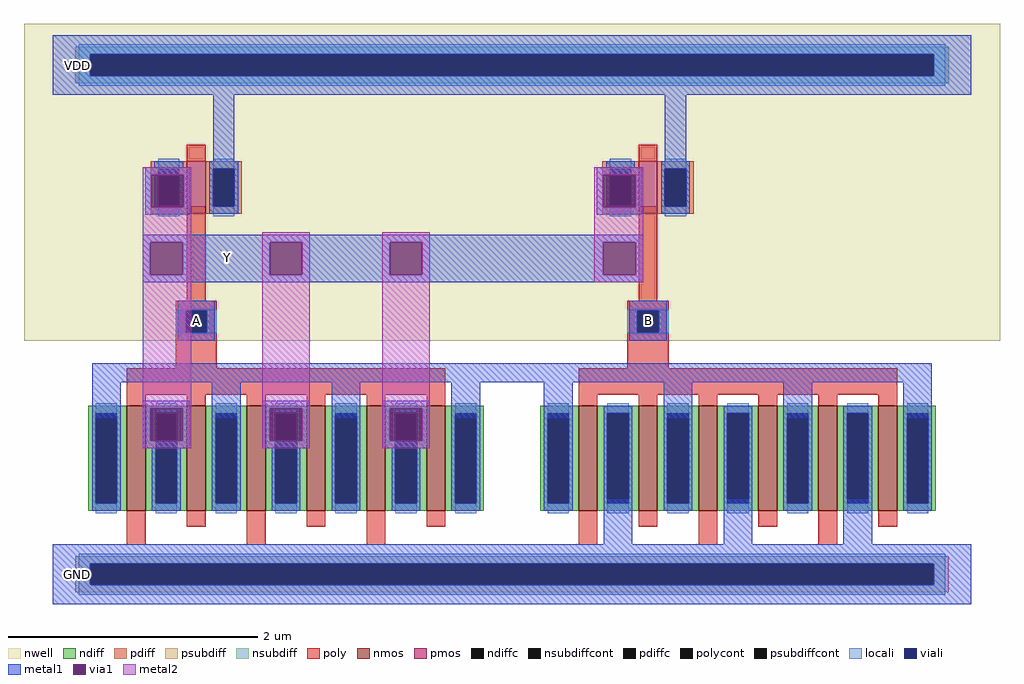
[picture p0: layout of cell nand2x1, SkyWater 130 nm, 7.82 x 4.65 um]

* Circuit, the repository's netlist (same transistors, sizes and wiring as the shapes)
** sch_path: /foss/designs/nand2x1.sch
.subckt nand2x1 A B VDD GND Y
*.PININFO A:I B:I VDD:B GND:B Y:O
XM2 Y A net1 GND sky130_fd_pr__nfet_01v8 L=0.15 W=5.04 nf=6
XM3 Y A VDD VDD sky130_fd_pr__pfet_01v8 L=0.15 W=0.42 nf=1
XM4 Y B VDD VDD sky130_fd_pr__pfet_01v8 L=0.15 W=0.42 nf=1
XM1 net1 B GND GND sky130_fd_pr__nfet_01v8 L=0.15 W=5.04 nf=6
.ends

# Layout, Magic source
magic
tech sky130A
magscale 1 2
<< nwell >>
rect -46 374 1518 882
<< psubdiff >>
rect 36 17 1436 29
rect 36 -17 60 17
rect 1412 -17 1436 17
rect 36 -29 1436 -17
<< nsubdiff >>
rect 36 833 1436 845
rect 36 799 60 833
rect 1412 799 1436 833
rect 36 787 1436 799
<< psubdiffcont >>
rect 60 -17 1412 17
<< nsubdiffcont >>
rect 60 799 1412 833
<< poly >>
rect 215 438 245 590
rect 939 438 969 590
rect 197 422 263 438
rect 197 388 213 422
rect 247 388 263 422
rect 197 330 263 388
rect 921 422 987 438
rect 921 388 937 422
rect 971 388 987 422
rect 921 330 987 388
rect 119 288 629 330
rect 843 288 1353 330
<< polycont >>
rect 213 388 247 422
rect 937 388 971 422
<< locali >>
rect 42 833 1430 849
rect 42 799 60 833
rect 1412 799 1430 833
rect 42 783 1430 799
rect 197 422 263 424
rect 197 388 213 422
rect 247 388 263 422
rect 197 386 263 388
rect 921 422 987 424
rect 921 388 937 422
rect 971 388 987 422
rect 921 386 987 388
rect 42 17 1430 33
rect 42 -17 60 17
rect 1412 -17 1430 17
rect 42 -33 1430 -17
<< viali >>
rect 60 799 1412 833
rect 213 388 247 422
rect 937 388 971 422
rect 60 -17 1412 17
<< metal1 >>
rect 0 833 1472 864
rect 0 799 60 833
rect 1412 799 1472 833
rect 0 768 1472 799
rect 148 640 220 652
rect 257 650 291 768
rect 148 588 158 640
rect 210 588 220 640
rect 148 576 220 588
rect 872 640 944 652
rect 981 650 1015 768
rect 872 588 882 640
rect 934 588 944 640
rect 872 576 944 588
rect 144 532 946 544
rect 144 480 156 532
rect 208 480 348 532
rect 400 480 540 532
rect 592 480 882 532
rect 934 480 946 532
rect 144 468 946 480
rect 200 422 260 438
rect 200 388 213 422
rect 247 388 260 422
rect 200 374 260 388
rect 924 422 984 438
rect 924 388 937 422
rect 971 388 984 422
rect 924 374 984 388
rect 63 308 1409 338
rect 63 250 109 308
rect 144 266 220 278
rect 144 214 156 266
rect 208 214 220 266
rect 255 250 301 308
rect 336 266 412 278
rect 144 202 220 214
rect 336 214 348 266
rect 400 214 412 266
rect 447 250 493 308
rect 528 266 604 278
rect 336 202 412 214
rect 528 214 540 266
rect 592 214 604 266
rect 639 250 685 308
rect 787 250 833 308
rect 979 250 1025 308
rect 1171 250 1217 308
rect 1363 250 1409 308
rect 528 202 604 214
rect 883 48 929 120
rect 1075 48 1121 120
rect 1267 48 1313 120
rect 0 17 1472 48
rect 0 -17 60 17
rect 1412 -17 1472 17
rect 0 -48 1472 -17
<< via1 >>
rect 158 588 210 640
rect 882 588 934 640
rect 156 480 208 532
rect 348 480 400 532
rect 540 480 592 532
rect 882 480 934 532
rect 156 214 208 266
rect 348 214 400 266
rect 540 214 592 266
<< metal2 >>
rect 144 640 222 652
rect 144 588 158 640
rect 210 588 222 640
rect 144 532 222 588
rect 868 640 946 652
rect 868 588 882 640
rect 934 588 946 640
rect 144 480 156 532
rect 208 480 222 532
rect 144 266 222 480
rect 144 214 156 266
rect 208 214 222 266
rect 144 202 222 214
rect 336 532 412 548
rect 336 480 348 532
rect 400 480 412 532
rect 336 266 412 480
rect 336 214 348 266
rect 400 214 412 266
rect 336 202 412 214
rect 528 532 604 548
rect 528 480 540 532
rect 592 480 604 532
rect 528 266 604 480
rect 868 532 946 588
rect 868 480 882 532
rect 934 480 946 532
rect 868 468 946 480
rect 528 214 540 266
rect 592 214 604 266
rect 528 202 604 214
use sky130_fd_pr__nfet_01v8_6WXBLA  xna
transform 1 0 374 0 1 186
box -317 -139 317 139
use sky130_fd_pr__nfet_01v8_6WXBLA  xnb
transform 1 0 1098 0 1 186
box -317 -139 317 139
use sky130_fd_pr__pfet_01v8_YNU6YZ  xpa
transform 1 0 230 0 1 620
box -109 -104 109 104
use sky130_fd_pr__pfet_01v8_YNU6YZ  xpb
transform 1 0 954 0 1 620
box -109 -104 109 104
<< labels >>
rlabel metal1 200 374 260 438 0 A
port 1 nsew
rlabel metal1 924 374 984 438 0 B
port 2 nsew
rlabel metal1 240 484 320 532 0 Y
port 3 nsew
rlabel metal1 10 780 70 852 0 VDD
port 4 nsew
rlabel metal1 10 -36 70 36 0 GND
port 5 nsew
<< properties >>
string FIXED_BBOX 0 0 1472 816
<< end >>

# cell sky130_fd_pr__nfet_01v8_6WXBLA: kit device sky130_fd_pr__nfet_01v8, w 0.84 l 0.15 m 1 nf 6 diffcov 100 polycov 100 guard 0 glc 1 grc 1 gtc 1 gbc 1 tbcov 100 rlcov 100 topc 0 botc 0 poverlap 0 doverlap 1 lmin 0.15 wmin 0.42 class mosfet compatible {sky130_fd_pr__nfet_01v8 sky130_fd_pr__nfet_01v8_lvt sky130_fd_bs_flash__special_sonosfet_star sky130_fd_pr__nfet_g5v0d10v5 sky130_fd_pr__nfet_05v0_nvt sky130_fd_pr__nfet_03v3_nvt} full_metal 1 conn_gates 0 viasrc 100 viadrn 100 viagate 100 viagb 0 viagr 0 viagl 0 viagt 0 doports 1

# cell sky130_fd_pr__pfet_01v8_YNU6YZ: kit device sky130_fd_pr__pfet_01v8, w 0.42 l 0.15 m 1 nf 1 diffcov 100 polycov 100 guard 0 glc 1 grc 1 gtc 1 gbc 1 tbcov 100 rlcov 100 topc 0 botc 0 poverlap 0 doverlap 1 lmin 0.15 wmin 0.42 class mosfet compatible {sky130_fd_pr__pfet_01v8 sky130_fd_pr__pfet_01v8_lvt sky130_fd_pr__pfet_01v8_hvt sky130_fd_pr__pfet_g5v0d10v5} full_metal 1 conn_gates 0 viasrc 100 viadrn 100 viagate 100 viagb 0 viagr 0 viagl 0 viagt 0 doports 1
